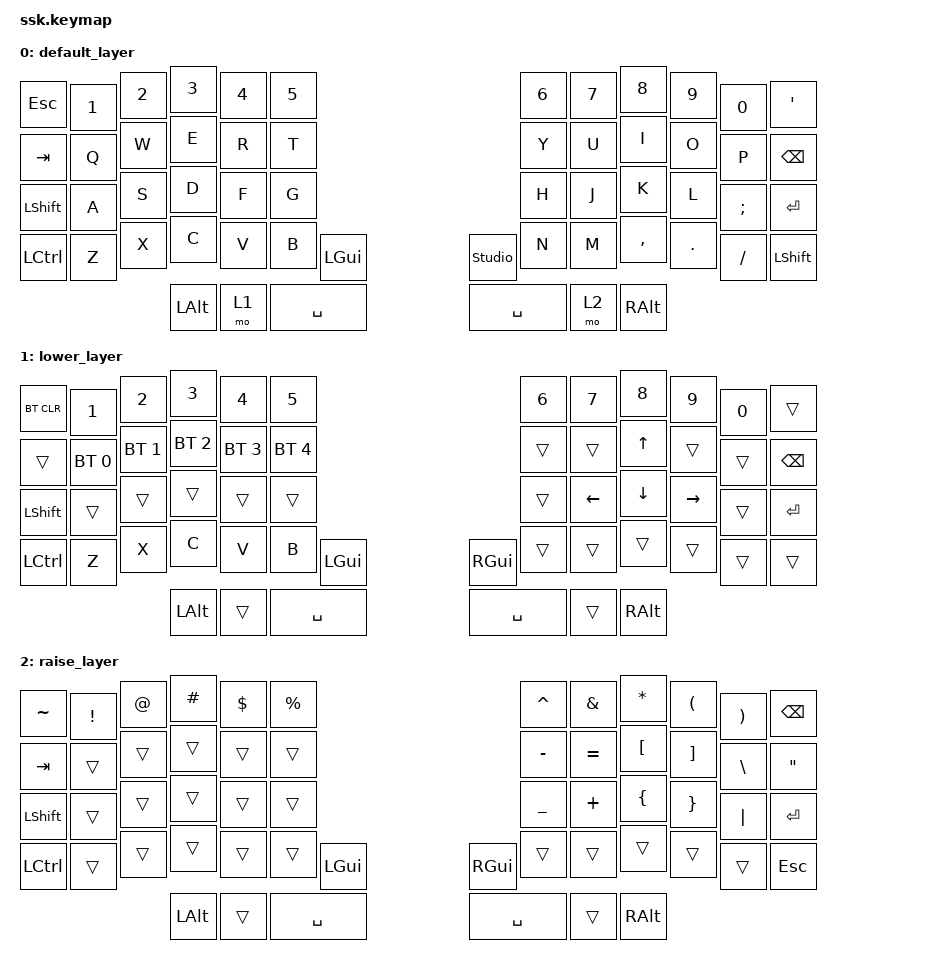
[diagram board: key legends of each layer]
/*
 * Copyright (c) 2020 The ZMK Contributors
 *
 * SPDX-License-Identifier: MIT
 */

#include <behaviors.dtsi>
#include <dt-bindings/zmk/keys.h>
#include <dt-bindings/zmk/bt.h>

/ {
        keymap {
                compatible = "zmk,keymap";

                default_layer {
// -------------------------------------------------------------------------------------------
// |  ESC |  1  |  2  |  3  |  4  |  5  | GUI |   | STU |  6  |  7  |  8  |  9  |  0  |  '   |
// |  TAB |  Q  |  W  |  E  |  R  |  T  | SPC |   | SPC |  Y  |  U  |  I  |  O  |  P  | BKSP   |
// | SHFT |  A  |  S  |  D  |  F  |  G  | LWR |   | RSE |  H  |  J  |  K  |  L  |  ;  | ENT  |
// | CTRL |  Z  |  X  |  C  |  V  |  B  | ALT |   | ALT |  N  |  M  |  ,  |  .  |  /  | SHFT |
                        bindings = <
   &kp ESC   &kp N1 &kp N2 &kp N3 &kp N4 &kp N5 &kp LGUI    &studio_unlock  &kp N6 &kp N7 &kp N8    &kp N9  &kp N0   &kp SQT
   &kp TAB   &kp Q  &kp W  &kp E  &kp R  &kp T  &kp SPACE   &kp SPACE &kp Y  &kp U  &kp I     &kp O   &kp P    &kp BSPC
   &kp LSHFT &kp A  &kp S  &kp D  &kp F  &kp G  &mo 1       &mo 2     &kp H  &kp J  &kp K     &kp L   &kp SEMI &kp RET
   &kp LCTRL &kp Z  &kp X  &kp C  &kp V  &kp B  &kp LALT    &kp RALT  &kp N  &kp M  &kp COMMA &kp DOT &kp FSLH &kp LSHFT
                        >;
                };

                lower_layer {
// -------------------------------------------------------------------------------------------
// | BTCLR|  1  |  2  |  3  |  4  |  5  | GUI |   | GUI |  6  |  7  |  8  |  9  |  0  |      |
// |      | BT1 | BT2 | BT3 | BT4 | BT5 | SPC |   | SPC |     |     |  UP |     |     | BKSP |
// | SHFT |     |     |     |     |     |     |   |     |     | LFT | DWN | RGT |     | ENT  |
// | CRTL |  Z  |  X  |  C  |  V  |  B  | ALT |   | ALT |     |     |     |     |     |      |
                        bindings = <
   &bt BT_CLR &kp N1       &kp N2       &kp N3       &kp N4       &kp N5       &kp LGUI    &kp RGUI  &kp N6 &kp N7   &kp N8   &kp N9    &kp N0 &trans
   &trans     &bt BT_SEL 0 &bt BT_SEL 1 &bt BT_SEL 2 &bt BT_SEL 3 &bt BT_SEL 4 &kp SPACE   &kp SPACE &trans &trans   &kp UP   &trans    &trans &kp BSPC
   &kp LSHFT  &trans       &trans       &trans       &trans       &trans       &trans      &trans    &trans &kp LEFT &kp DOWN &kp RIGHT &trans &kp RET
   &kp LCTRL  &kp Z        &kp X        &kp C        &kp V        &kp B        &kp LALT    &kp RALT  &trans &trans   &trans   &trans    &trans &trans
                        >;
                };

                raise_layer {
// -------------------------------------------------------------------------------------------
// |  ~   |  !  |  @  |  #  |  $  |  %  | GUI |   | GUI |  ^  |  &  |  *  |  (  |  )  | BKSP |
// |  TAB |     |     |     |     |     | SPC |   | SPC |  -  |  =  |  [  |  ]  |  \  |  "   |
// | SHFT |     |     |     |     |     |     |   |     |  _  |  +  |  {  |  }  | "|" | ENT  |
// | CTRL |     |     |     |     |     | ALT |   | ALT |     |     |     |     |     | ESC  |
                        bindings = <
   &kp TILDE &kp EXCL &kp AT &kp HASH &kp DLLR &kp PRCNT &kp LGUI    &kp RGUI  &kp CARET &kp AMPS  &kp ASTRK &kp LPAR &kp RPAR &kp BSPC
   &kp TAB   &trans   &trans &trans   &trans   &trans    &kp SPACE   &kp SPACE &kp MINUS &kp EQUAL &kp LBKT  &kp RBKT &kp BSLH &kp DQT
   &kp LSHFT &trans   &trans &trans   &trans   &trans    &trans      &trans    &kp UNDER &kp PLUS  &kp LBRC  &kp RBRC &kp PIPE &kp RET
   &kp LCTRL &trans   &trans &trans   &trans   &trans    &kp LALT    &kp RALT  &trans    &trans    &trans    &trans   &trans   &kp ESC
                        >;
                };
        };
};
